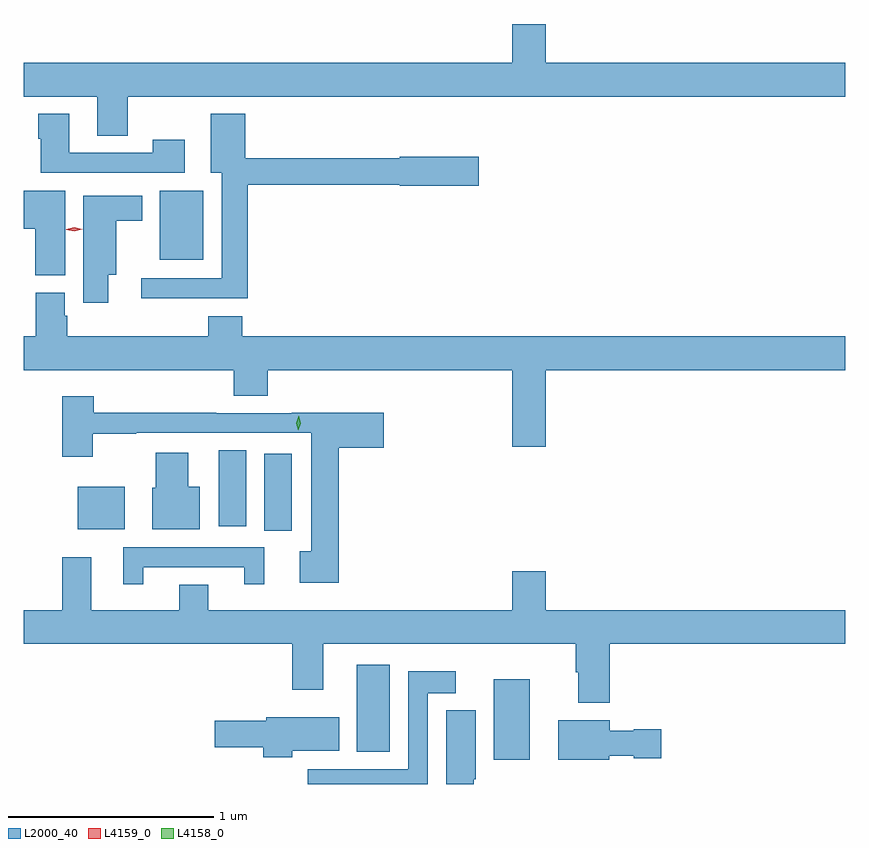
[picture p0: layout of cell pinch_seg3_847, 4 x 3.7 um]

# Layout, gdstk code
import gdstk
lib = gdstk.Library(unit=1e-6, precision=1e-09)
def R(c, l, rs):  # rectangles x0, y0, x1, y1
    for r in rs: c.add(gdstk.rectangle(r[:2], r[2:], *l))
def P(c, l, *ps):  # polygons
    for p in ps: c.add(gdstk.Polygon(p, *l))
L2000_40 = (2000, 40)
L4158_0 = (4158, 0)
L4159_0 = (4159, 0)

pinch_seg3_847 = lib.new_cell('pinch_seg3_847')
R(pinch_seg3_847, L2000_40, [(680.402,701.684,680.578,702.076), (679.736,701.723,679.897,702.145), (679.286,702.798,679.42,703.174), (678.377,702.806,678.607,703.012), (679.064,702.819,679.198,703.19), (678.776,704.117,678.988,704.452)])
P(pinch_seg3_847, L2000_40, [(678.621,704.912),(682.114,704.912),(682.114,705.076),(680.656,705.076),(680.656,705.265),(680.492,705.265),(680.492,705.076),(678.114,705.076),(678.114,704.912),(678.473,704.912),(678.473,704.722),(678.621,704.722)],
  [(679.205,704.482),(679.944,704.482),(679.944,704.477),(680.329,704.477),(680.329,704.619),(679.944,704.619),(679.944,704.611),(679.192,704.611),(679.192,704.827),(679.025,704.827),(679.025,704.54),(679.079,704.54),(679.079,704.028),(678.687,704.028),(678.687,703.931),(679.205,703.931)],
  [(678.898,704.701),(678.742,704.701),(678.742,704.637),(678.337,704.637),(678.337,704.827),(678.185,704.827),(678.185,704.707),(678.197,704.707),(678.197,704.541),(678.898,704.541)],
  [(678.316,704.452),(678.114,704.452),(678.114,704.267),(678.17,704.267),(678.17,704.041),(678.316,704.041)],
  [(678.526,704.045),(678.565,704.045),(678.565,704.306),(678.691,704.306),(678.691,704.428),(678.404,704.428),(678.404,703.908),(678.526,703.908)],
  [(680.656,703.58),(682.114,703.58),(682.114,703.744),(679.178,703.744),(679.178,703.843),(679.013,703.843),(679.013,703.744),(678.326,703.744),(678.326,703.845),(678.313,703.845),(678.313,703.956),(678.173,703.956),(678.173,703.744),(678.114,703.744),(678.114,703.58),(679.136,703.58),(679.136,703.456),(679.301,703.456),(679.301,703.58),(680.492,703.58),(680.492,703.206),(680.656,703.206)],
  [(679.649,703.202),(679.867,703.202),(679.867,703.373),(679.418,703.373),(679.418,703.371),(679.052,703.371),(679.052,703.373),(678.455,703.373),(678.455,703.453),(678.302,703.453),(678.302,703.158),(678.45,703.158),(678.45,703.27),(678.662,703.27),(678.662,703.275),(679.514,703.275),(679.514,702.698),(679.458,702.698),(679.458,702.545),(679.649,702.545)],
  [(678.97,703.012),(678.916,703.012),(678.916,703.177),(678.758,703.177),(678.758,703.008),(678.74,703.008),(678.74,702.806),(678.97,702.806)],
  [(678.697,702.621),(679.187,702.621),(679.187,702.537),(679.285,702.537),(679.285,702.717),(678.599,702.717),(678.599,702.537),(678.697,702.537)],
  [(680.966,702.248),(682.114,702.248),(682.114,702.412),(680.656,702.412),(680.656,702.601),(680.492,702.601),(680.492,702.412),(679.012,702.412),(679.012,702.536),(678.872,702.536),(678.872,702.412),(678.442,702.412),(678.442,702.67),(678.302,702.67),(678.302,702.412),(678.114,702.412),(678.114,702.248),(679.421,702.248),(679.421,702.024),(679.573,702.024),(679.573,702.248),(680.801,702.248),(680.801,702.11),(680.813,702.11),(680.813,701.96),(680.966,701.96)],
  [(680.082,702.008),(680.218,702.008),(680.218,702.115),(679.986,702.115),(679.986,701.637),(679.74,701.637),(679.74,701.638),(679.496,701.638),(679.496,701.565),(680.082,701.565)],
  [(680.306,701.589),(680.314,701.589),(680.314,701.923),(680.171,701.923),(680.171,701.565),(680.306,701.565)],
  [(679.422,701.726),(679.651,701.726),(679.651,701.89),(679.296,701.89),(679.296,701.874),(679.044,701.874),(679.044,701.744),(679.28,701.744),(679.28,701.696),(679.422,701.696)],
  [(680.964,701.702),(681.084,701.702),(681.084,701.69),(681.217,701.69),(681.217,701.832),(681.084,701.832),(681.084,701.824),(680.968,701.824),(680.968,701.875),(680.717,701.875),(680.717,701.684),(680.964,701.684)])
P(pinch_seg3_847, L4158_0, [(679.451,703.286),(679.451,703.286),(679.442,703.322),(679.452,703.358),(679.452,703.358),(679.453,703.358),(679.462,703.322),(679.451,703.286)])
P(pinch_seg3_847, L4159_0, [(678.361,704.255),(678.322,704.264),(678.321,704.264),(678.322,704.265),(678.361,704.275),(678.4,704.265),(678.4,704.265),(678.4,704.265)])

lib.write_gds('pinch_seg3_847.gds')
